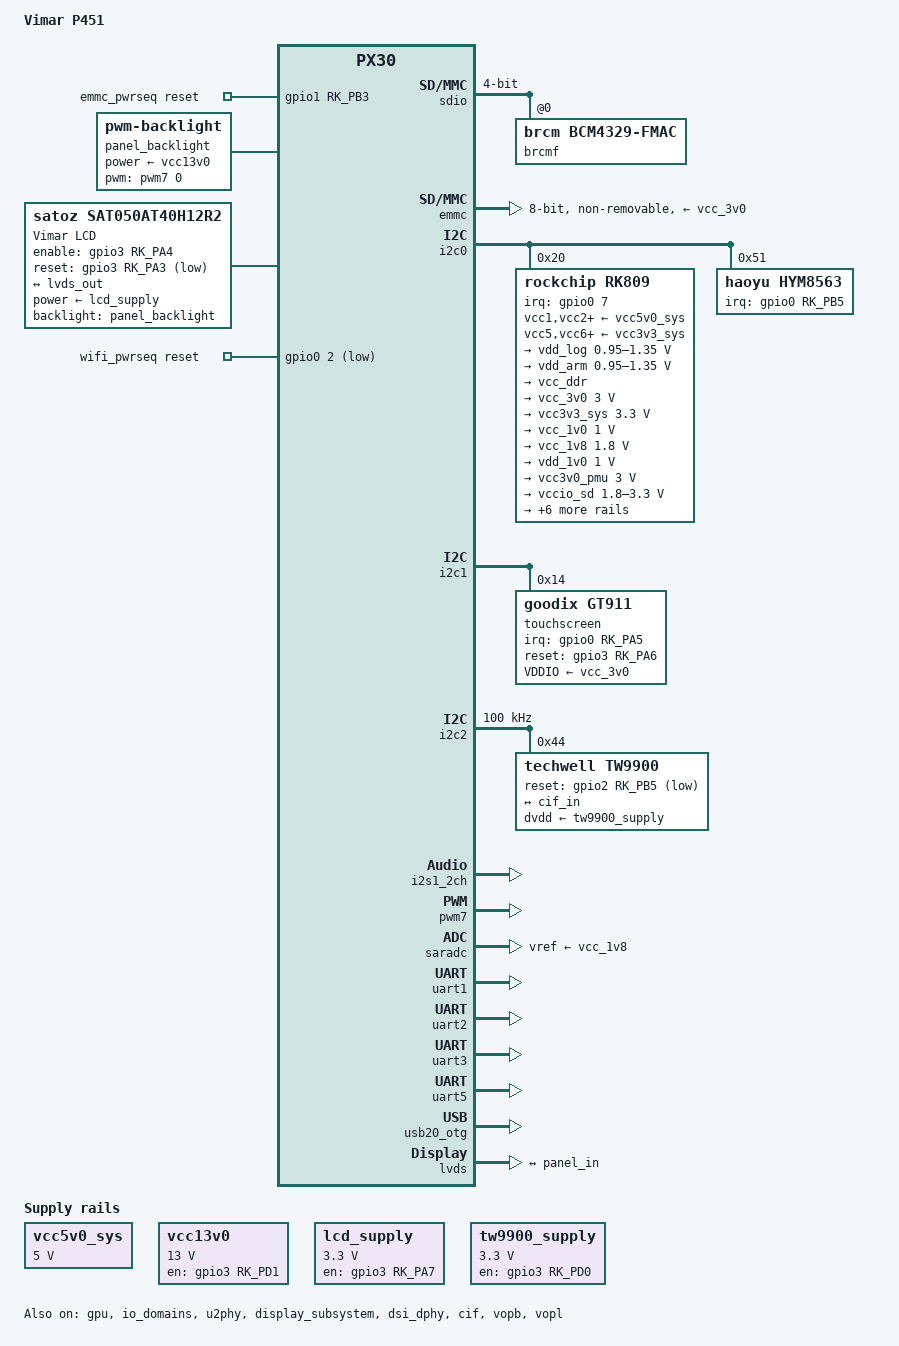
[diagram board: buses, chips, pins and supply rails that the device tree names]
// SPDX-License-Identifier: (GPL-2.0+ OR MIT)
/*
 * Copyright (c) 2018 Fuzhou Rockchip Electronics Co., Ltd
 * (C) Copyright 2019 Vimar
 */

/dts-v1/;
#include <dt-bindings/gpio/gpio.h>
#include <dt-bindings/input/input.h>
#include <dt-bindings/pinctrl/rockchip.h>
#include "rockchip/px30.dtsi"

/ {
	model = "Vimar P451";
	compatible = "vimar,p451", "rockchip,px30";

	chosen {
		stdout-path = "serial2:1500000n8";
	};

	aliases {
		rtc0 = &hym8563;
		rtc1 = &rk809;
	};

	emmc_pwrseq: emmc-pwrseq {
		compatible = "mmc-pwrseq-emmc";
		pinctrl-0 = <&emmc_reset>;
		pinctrl-names = "default";
		reset-gpios = <&gpio1 RK_PB3 GPIO_ACTIVE_HIGH>;
	};

	vcc5v0_sys: vccsys {
		compatible = "regulator-fixed";
		regulator-name = "vcc5v0_sys";
		regulator-always-on;
		regulator-boot-on;
		regulator-min-microvolt = <5000000>;
		regulator-max-microvolt = <5000000>;
	};

	vcc13v0: vcc13v0 {
		compatible = "regulator-fixed";
		regulator-name = "vcc13v0";
		gpio = <&gpio3 RK_PD1 GPIO_ACTIVE_HIGH>;
		enable-active-high;
		//regulator-always-on;
		//regulator-boot-on;
		startup-delay-us = <1000>;
		regulator-min-microvolt = <13000000>;
		regulator-max-microvolt = <13000000>;
	};

        lcd_supply: lcd-fixedregulator {
                compatible = "regulator-fixed";
                regulator-name = "lcd-fixed-supply";
                regulator-min-microvolt = <3300000>;
                regulator-max-microvolt = <3300000>;
                gpio = <&gpio3 RK_PA7 GPIO_ACTIVE_HIGH>;
                startup-delay-us = <1000>;
                enable-active-high;
                //regulator-boot-on;
        };

	panel_backlight: panel-backlight {
		compatible = "pwm-backlight";
		pwms = <&pwm7 0 25000 0>;
		brightness-levels = <0x00 0x06 0x0D 0x10 0x15 0x20 0x30 0x40
				     0x50 0x60 0x70 0x80 0x90 0xB0 0xD0 0xFF>;
		default-brightness-level = <14>;
		power-supply = <&vcc13v0>;
	};

	panel: panel {
		compatible = "satoz,sat050at40h12r2", "simple-panel";
		power-supply = <&lcd_supply>;
		enable-gpios = <&gpio3 RK_PA4 GPIO_ACTIVE_HIGH>;
		reset-gpios = <&gpio3 RK_PA3 GPIO_ACTIVE_LOW>;
		backlight = <&panel_backlight>;
		data-mapping = "vesa-24";
		width-mm = <108>;
		height-mm = <65>;
		label = "Vimar LCD";
		status = "okay";

		port@0 {
			panel_in: endpoint@0 {
				remote-endpoint = <&lvds_out>;
			};
		};
	};

	tw9900_supply: tw9900-fixedregulator {
		compatible = "regulator-fixed";
		regulator-name = "tw9900-fixed-supply";
		regulator-min-microvolt = <3300000>;
		regulator-max-microvolt = <3300000>;
		gpio = <&gpio3 RK_PD0 GPIO_ACTIVE_HIGH>;
		startup-delay-us = <1000>;
		enable-active-high;
	};

	wifi_pwrseq: wifi_pwrseq {
		compatible = "mmc-pwrseq-simple";
		reset-gpios = <&gpio0 2 GPIO_ACTIVE_LOW>;
		post-power-on-delay-ms = <200>;
	};
};

&cpu0 {
	cpu-supply = <&vdd_arm>;
};

&cpu1 {
	cpu-supply = <&vdd_arm>;
};

&cpu2 {
	cpu-supply = <&vdd_arm>;
};

&cpu3 {
	cpu-supply = <&vdd_arm>;
};

&sdio {
	status = "okay";
	bus-width = <4>;
	#address-cells = <1>;
	#size-cells = <0>;
	mmc-pwrseq = <&wifi_pwrseq>;

	brcmf: wifi@1 {
		reg = <0>;
		compatible = "brcm,bcm4329-fmac";
	};
};

&emmc {
	bus-width = <8>;
	cap-mmc-highspeed;
	mmc-hs200-1_8v;
	non-removable;
	mmc-pwrseq = <&emmc_pwrseq>;
	vmmc-supply = <&vcc_3v0>;
	vqmmc-supply = <&vccio_flash>;
	status = "okay";
};

&gpu {
	status = "okay";
	mali-supply = <&vdd_log>;
};

&i2c0 {
	status = "okay";

	rk809: pmic@20 {
		compatible = "rockchip,rk809";
		reg = <0x20>;
		interrupt-parent = <&gpio0>;
		interrupts = <7 IRQ_TYPE_LEVEL_LOW>;
		pinctrl-names = "default";
		pinctrl-0 = <&pmic_int>;
		rockchip,system-power-controller;
		wakeup-source;
		#clock-cells = <0>;
		clock-output-names = "pmic-xout32k";

		vcc1-supply = <&vcc5v0_sys>;
		vcc2-supply = <&vcc5v0_sys>;
		vcc3-supply = <&vcc5v0_sys>;
		vcc4-supply = <&vcc5v0_sys>;
		vcc5-supply = <&vcc3v3_sys>;
		vcc6-supply = <&vcc3v3_sys>;
		vcc7-supply = <&vcc3v3_sys>;
		vcc8-supply = <&vcc3v3_sys>;
		vcc9-supply = <&vcc5v0_sys>;

		regulators {
			vdd_log: DCDC_REG1 {
				regulator-name = "vdd_log";
				regulator-min-microvolt = <950000>;
				regulator-max-microvolt = <1350000>;
				regulator-ramp-delay = <6001>;
				regulator-always-on;
				regulator-boot-on;

				regulator-state-mem {
					regulator-on-in-suspend;
					regulator-suspend-microvolt = <950000>;
				};
			};

			vdd_arm: DCDC_REG2 {
				regulator-name = "vdd_arm";
				regulator-min-microvolt = <950000>;
				regulator-max-microvolt = <1350000>;
				regulator-ramp-delay = <6001>;
				regulator-always-on;
				regulator-boot-on;

				regulator-state-mem {
					regulator-off-in-suspend;
					regulator-suspend-microvolt = <950000>;
				};
			};

			vcc_ddr: DCDC_REG3 {
				regulator-name = "vcc_ddr";
				regulator-always-on;
				regulator-boot-on;

				regulator-state-mem {
					regulator-on-in-suspend;
				};
			};

			vcc_3v0: vcc_rmii: DCDC_REG4 {
				regulator-name = "vcc_3v0";
				regulator-min-microvolt = <3000000>;
				regulator-max-microvolt = <3000000>;
				regulator-always-on;
				regulator-boot-on;

				regulator-state-mem {
					regulator-on-in-suspend;
					regulator-suspend-microvolt = <3000000>;
				};
			};

			vcc3v3_sys: DCDC_REG5 {
				regulator-name = "vcc3v3_sys";
				regulator-min-microvolt = <3300000>;
				regulator-max-microvolt = <3300000>;
				regulator-always-on;
				regulator-boot-on;

				regulator-state-mem {
					regulator-on-in-suspend;
					regulator-suspend-microvolt = <3300000>;
				};
			};

			vcc_1v0: LDO_REG1 {
				regulator-name = "vcc_1v0";
				regulator-min-microvolt = <1000000>;
				regulator-max-microvolt = <1000000>;
				regulator-always-on;
				regulator-boot-on;

				regulator-state-mem {
					regulator-on-in-suspend;
					regulator-suspend-microvolt = <1000000>;
				};
			};

			vcc_1v8: vccio_flash: vccio_sdio: LDO_REG2 {
				regulator-name = "vcc_1v8";
				regulator-min-microvolt = <1800000>;
				regulator-max-microvolt = <1800000>;
				regulator-always-on;
				regulator-boot-on;

				regulator-state-mem {
					regulator-on-in-suspend;
					regulator-suspend-microvolt = <1800000>;
				};
			};

			vdd_1v0: LDO_REG3 {
				regulator-name = "vdd_1v0";
				regulator-min-microvolt = <1000000>;
				regulator-max-microvolt = <1000000>;
				regulator-always-on;
				regulator-boot-on;

				regulator-state-mem {
					regulator-on-in-suspend;
					regulator-suspend-microvolt = <1000000>;
				};
			};

			vcc3v0_pmu: LDO_REG4 {
				regulator-name = "vcc3v0_pmu";
				regulator-min-microvolt = <3000000>;
				regulator-max-microvolt = <3000000>;
				regulator-always-on;
				regulator-boot-on;

				regulator-state-mem {
					regulator-on-in-suspend;
					regulator-suspend-microvolt = <3000000>;
				};
			};

			vccio_sd: LDO_REG5 {
				regulator-name = "vccio_sd";
				regulator-min-microvolt = <1800000>;
				regulator-max-microvolt = <3300000>;
				regulator-always-on;
				regulator-boot-on;

				regulator-state-mem {
					regulator-on-in-suspend;
					regulator-suspend-microvolt = <3300000>;
				};
			};

			vcc_sd: LDO_REG6 {
				regulator-name = "vcc_sd";
				regulator-min-microvolt = <3300000>;
				regulator-max-microvolt = <3300000>;
				regulator-boot-on;

				regulator-state-mem {
					regulator-on-in-suspend;
					regulator-suspend-microvolt = <3300000>;
				};
			};

			vcc2v8_dvp: LDO_REG7 {
				regulator-name = "vcc2v8_dvp";
				regulator-min-microvolt = <2800000>;
				regulator-max-microvolt = <2800000>;
				regulator-boot-on;

				regulator-state-mem {
					regulator-off-in-suspend;
					regulator-suspend-microvolt = <2800000>;
				};
			};

			vcc1v8_dvp: LDO_REG8 {
				regulator-name = "vcc1v8_dvp";
				regulator-min-microvolt = <1800000>;
				regulator-max-microvolt = <1800000>;
				regulator-boot-on;

				regulator-state-mem {
					regulator-on-in-suspend;
					regulator-suspend-microvolt = <1800000>;
				};
			};

			vcc1v5_dvp: LDO_REG9 {
				regulator-name = "vcc1v5_dvp";
				regulator-min-microvolt = <1500000>;
				regulator-max-microvolt = <1500000>;
				regulator-boot-on;

				regulator-state-mem {
					regulator-off-in-suspend;
					regulator-suspend-microvolt = <1500000>;
				};
			};

			vcc5v0_host: SWITCH_REG1 {
				regulator-name = "vcc5v0_host";
				regulator-always-on;
				regulator-boot-on;
			};

			vcc3v3_lcd: SWITCH_REG2 {
				regulator-name = "vcc3v3_lcd";
				regulator-boot-on;
			};
		};
	};

	hym8563: rtc@51 {
		compatible = "haoyu,hym8563";
		pinctrl-names = "default";
		pinctrl-0 = <&hym8563_int>;
		reg = <0x51>;

		interrupt-parent = <&gpio0>;
		interrupts = <RK_PB5 IRQ_TYPE_EDGE_FALLING>;
		#clock-cells = <0>;
	};
};

&i2c1 {
	status = "okay";

	touchscreen: touchscreen@14 {
		compatible = "goodix,gt911";
		reg = <0x14>;
		interrupt-parent = <&gpio0>;
		/* Sensitivity/polarity matches touchscreen config registers. */
		interrupts = <RK_PA5 IRQ_TYPE_EDGE_FALLING>;
		irq-gpios = <&gpio0 RK_PA5 GPIO_ACTIVE_HIGH>;
		reset-gpios = <&gpio3 RK_PA6 GPIO_ACTIVE_HIGH>;
		VDDIO-supply = <&vcc_3v0>;
	};
};

&i2c2 {
	status = "okay";

	clock-frequency = <100000>;

	i2c-scl-falling-time-ns = <50>;
	i2c-scl-rising-time-ns = <300>;
	
	tw9900: tw9900@44 {
		compatible = "techwell,tw9900";
		reg = <0x44>;
		dvdd-supply = <&tw9900_supply>;
		reset-gpio = <&gpio2 RK_PB5 GPIO_ACTIVE_LOW>;
		pinctrl-names = "default";
		pinctrl-0 = <&cif_clkout_m0 &dvp_d2d9_m0
			     &dvp_d0d1_m0>;
		status = "okay";
		port {
			tw9900_out: endpoint {
				remote-endpoint = <&cif_in>;
			};
		};
	};
};

&i2s1_2ch {
	status = "okay";
};

&io_domains {
	status = "okay";

	vccio1-supply = <&vccio_sdio>;
	vccio2-supply = <&vccio_sd>;
	vccio3-supply = <&vcc_3v0>;
	vccio4-supply = <&vcc3v0_pmu>;
	vccio5-supply = <&vcc_3v0>;
	vccio6-supply = <&vccio_flash>;
};

&pinctrl {
	emmc {
		emmc_reset: emmc-reset {
			rockchip,pins = <1 RK_PB3 RK_FUNC_GPIO &pcfg_pull_none>;
		};
	};

	pmic {
		pmic_int: pmic_int {
			rockchip,pins =
				<0 RK_PA7 RK_FUNC_GPIO &pcfg_pull_up>;
		};

		soc_slppin_gpio: soc_slppin_gpio {
			rockchip,pins =
				<0 RK_PA4 RK_FUNC_GPIO &pcfg_output_low>;
		};

		soc_slppin_slp: soc_slppin_slp {
			rockchip,pins =
				<0 RK_PA4 1 &pcfg_pull_none>;
		};

		soc_slppin_rst: soc_slppin_rst {
			rockchip,pins =
				<0 RK_PA4 2 &pcfg_pull_none>;
		};
	};

	rtc {
		hym8563_int: hym8563_int {
			rockchip,pins = <1 RK_PB0 RK_FUNC_GPIO &pcfg_pull_none>;
		};
	};
};

&pmu_io_domains {
	status = "okay";

	pmuio1-supply = <&vcc3v0_pmu>;
	pmuio2-supply = <&vcc3v0_pmu>;
};

&pwm7 {
	status = "okay";
};

&saradc {
	vref-supply = <&vcc_1v8>;
	status = "okay";
};

&sdmmc {
	bus-width = <4>;
	cap-mmc-highspeed;
	cap-sd-highspeed;
	card-detect-delay = <800>;
	sd-uhs-sdr12;
	sd-uhs-sdr25;
	sd-uhs-sdr50;
	sd-uhs-sdr104;
	vmmc-supply = <&vcc_sd>;
	vqmmc-supply = <&vccio_sd>;
	status = "disabled";
};

&u2phy {
	status = "okay";

	u2phy_otg: otg-port {
		status = "okay";
	};
};

/* AP6212A WiFi/Bluetooth module */
&uart1 {
	pinctrl-names = "default";
	pinctrl-0 = <&uart1_xfer &uart1_cts>;
	status = "okay";
};

/* CN12 connector (conflicts with SD card) */
&uart2 {
	status = "ok";
};

/* Console (available on the SoM) */
&uart3 {
	pinctrl-names = "default";
	pinctrl-0 = <&uart3m0_xfer>;
	status = "okay";
};

/* MCU */
&uart5 {
	status = "okay";
};

&usb20_otg {
	status = "okay";
};

&display_subsystem {
	status = "okay";
};

&dsi_dphy {
	status = "okay";
};

&lvds {
	status = "okay";

	port@1 {
		reg = <1>;

		lvds_out: endpoint {
			remote-endpoint = <&panel_in>;
		};
	};
};

&cif {
	status = "okay";

	port {
		cif_in: endpoint {
			remote-endpoint = <&tw9900_out>;
		};
	};
};

&vopb {
	status = "okay";
};

&vopb_mmu {
	status = "okay";
};

&vopl {
	status = "okay";
};

/*
&vip_mmu {
	status = "okay";
};
*/

&vopl_mmu {
	status = "okay";
};
